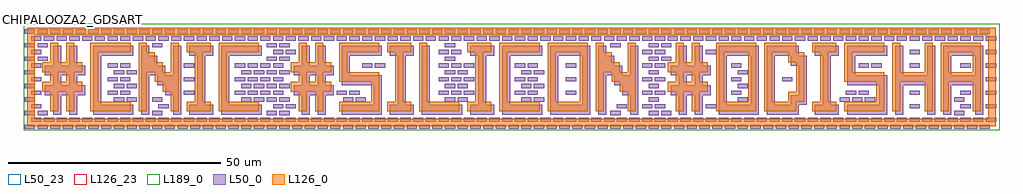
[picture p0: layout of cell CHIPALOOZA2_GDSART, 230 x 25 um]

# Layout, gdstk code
import gdstk
lib = gdstk.Library(unit=1e-6, precision=1e-09)
def R(c, l, rs):  # rectangles x0, y0, x1, y1
    for r in rs: c.add(gdstk.rectangle(r[:2], r[2:], *l))
def A(c, l, x, y, w, h, nx, ny, dx, dy):  # array of equal rectangles
    R(c, l, [(x+i*dx, y+j*dy, x+i*dx+w, y+j*dy+h) for i in range(nx) for j in range(ny)])
def P(c, l, *ps):  # polygons
    for p in ps: c.add(gdstk.Polygon(p, *l))
L50_0 = (50, 0)
L50_23 = (50, 23)
L126_0 = (126, 0)
L126_23 = (126, 23)
L189_0 = (189, 0)

chipalooza2_gdsart = lib.new_cell('CHIPALOOZA2_GDSART')
A(chipalooza2_gdsart, L50_0, 0.3, 0.3, 2.4, 1, 76, 2, 3, 22.4)
A(chipalooza2_gdsart, L50_0, 1.8, 1.9, 2.4, 1, 76, 2, 3, 19.2)
A(chipalooza2_gdsart, L50_0, 0.3, 3.5, 2.4, 1, 1, 6, 0, 3.2)
A(chipalooza2_gdsart, L50_0, 3.3, 3.5, 2.4, 1, 3, 2, 27, 16)
A(chipalooza2_gdsart, L50_0, 147.3, 3.5, 2.4, 1, 1, 6, 0, 3.2)
A(chipalooza2_gdsart, L50_0, 1.8, 5.1, 2.4, 1, 1, 5, 0, 3.2)
A(chipalooza2_gdsart, L50_0, 145.8, 5.1, 2.4, 1, 1, 5, 0, 3.2)
A(chipalooza2_gdsart, L50_0, 148.8, 5.1, 2.4, 1, 1, 5, 0, 3.2)
A(chipalooza2_gdsart, L50_0, 226.8, 5.1, 2.4, 1, 1, 5, 0, 3.2)
A(chipalooza2_gdsart, L50_0, 21.3, 6.7, 2.4, 1, 1, 3, 0, 3.2)
A(chipalooza2_gdsart, L50_0, 24.3, 6.7, 2.4, 1, 1, 3, 0, 3.2)
A(chipalooza2_gdsart, L50_0, 51.3, 6.7, 2.4, 1, 4, 3, 3, 3.2)
A(chipalooza2_gdsart, L50_0, 99.3, 6.7, 2.4, 1, 1, 4, 0, 3.2)
A(chipalooza2_gdsart, L50_0, 102.3, 6.7, 2.4, 1, 1, 3, 0, 3.2)
A(chipalooza2_gdsart, L50_0, 117.3, 6.7, 2.4, 1, 1, 3, 0, 3.2)
A(chipalooza2_gdsart, L50_0, 120.3, 6.7, 2.4, 1, 1, 3, 0, 3.2)
A(chipalooza2_gdsart, L50_0, 168.3, 6.7, 2.4, 1, 1, 3, 0, 3.2)
A(chipalooza2_gdsart, L50_0, 192.3, 6.7, 2.4, 1, 3, 1, 3, 0)
A(chipalooza2_gdsart, L50_0, 19.8, 8.3, 2.4, 1, 1, 3, 0, 3.2)
A(chipalooza2_gdsart, L50_0, 22.8, 8.3, 2.4, 1, 1, 3, 0, 3.2)
A(chipalooza2_gdsart, L50_0, 37.8, 8.3, 2.4, 1, 1, 3, 0, 3.2)
A(chipalooza2_gdsart, L50_0, 49.8, 8.3, 2.4, 1, 4, 3, 3, 3.2)
A(chipalooza2_gdsart, L50_0, 97.8, 8.3, 2.4, 1, 3, 3, 3, 3.2)
A(chipalooza2_gdsart, L50_0, 115.8, 8.3, 2.4, 1, 1, 3, 0, 3.2)
A(chipalooza2_gdsart, L50_0, 118.8, 8.3, 2.4, 1, 1, 3, 0, 3.2)
A(chipalooza2_gdsart, L50_0, 127.8, 8.3, 2.4, 1, 1, 3, 0, 3.2)
A(chipalooza2_gdsart, L50_0, 166.8, 8.3, 2.4, 1, 1, 3, 0, 3.2)
A(chipalooza2_gdsart, L50_0, 196.8, 8.3, 2.4, 1, 3, 1, 12, 0)
A(chipalooza2_gdsart, L50_0, 60.3, 19.5, 2.4, 1, 3, 1, 39, 0)
R(chipalooza2_gdsart, L50_0, [(60.3,3.5,62.7,4.5), (138.3,3.5,140.7,4.5), (150.3,3.5,152.7,4.5), (219.3,3.5,221.7,4.5), (31.8,5.1,34.2,6.1), (58.8,5.1,61.2,6.1), (61.8,5.1,64.2,6.1), (139.8,5.1,142.2,6.1), (160.8,5.1,163.2,6.1), (208.8,5.1,211.2,6.1), (220.8,5.1,223.2,6.1), (30.3,6.7,32.7,7.7), (75.3,6.7,77.7,7.7), (78.3,6.7,80.7,7.7), (219.3,6.7,221.7,7.7), (73.8,8.3,76.2,9.3), (76.8,8.3,79.2,9.3), (193.8,8.3,196.2,9.3), (178.8,11.5,181.2,12.5), (79.8,14.7,82.2,15.7), (82.8,14.7,85.2,15.7), (196.8,14.7,199.2,15.7), (199.8,14.7,202.2,15.7), (208.8,14.7,211.2,15.7), (220.8,14.7,223.2,15.7), (3.3,16.3,5.7,17.3), (57.3,16.3,59.7,17.3), (60.3,16.3,62.7,17.3), (150.3,16.3,152.7,17.3), (58.8,17.9,61.2,18.9), (61.8,17.9,64.2,18.9), (97.8,17.9,100.2,18.9), (100.8,17.9,103.2,18.9), (160.8,17.9,163.2,18.9), (208.8,17.9,211.2,18.9), (150.3,19.5,152.7,20.5)])
P(chipalooza2_gdsart, L50_0, [(112.795,3.605),(112.795,19.845),(122.245,19.845),(122.245,17.525),(114.685,17.525),(114.685,5.925),(122.245,5.925),(122.245,3.605)],
  [(163.825,3.605),(163.825,17.525),(165.715,17.525),(165.715,5.925),(171.385,5.925),(171.385,17.525),(163.825,17.525),(163.825,19.845),(173.275,19.845),(173.275,3.605)],
  [(175.165,3.605),(175.165,17.525),(177.055,17.525),(177.055,5.925),(180.835,5.925),(180.835,8.245),(182.725,8.245),(182.725,15.205),(180.835,15.205),(180.835,17.525),(175.165,17.525),(175.165,19.845),(182.725,19.845),(182.725,17.525),(184.615,17.525),(184.615,5.925),(182.725,5.925),(182.725,3.605)],
  [(186.505,3.605),(186.505,5.925),(188.395,5.925),(188.395,17.525),(186.505,17.525),(186.505,19.845),(192.175,19.845),(192.175,17.525),(190.285,17.525),(190.285,5.925),(192.175,5.925),(192.175,3.605)],
  [(194.065,3.605),(194.065,5.925),(201.625,5.925),(201.625,10.565),(194.065,10.565),(194.065,19.845),(203.515,19.845),(203.515,17.525),(195.955,17.525),(195.955,12.885),(203.515,12.885),(203.515,3.605)],
  [(205.405,3.605),(205.405,19.845),(207.295,19.845),(207.295,12.885),(212.965,12.885),(212.965,19.845),(214.855,19.845),(214.855,3.605),(212.965,3.605),(212.965,10.565),(207.295,10.565),(207.295,3.605)],
  [(216.745,3.605),(216.745,17.525),(218.635,17.525),(218.635,12.885),(224.305,12.885),(224.305,17.525),(216.745,17.525),(216.745,19.845),(226.195,19.845),(226.195,3.605),(224.305,3.605),(224.305,10.565),(218.635,10.565),(218.635,3.605)],
  [(124.135,3.605),(124.135,17.525),(126.025,17.525),(126.025,5.925),(131.695,5.925),(131.695,17.525),(124.135,17.525),(124.135,19.845),(133.585,19.845),(133.585,3.605)],
  [(135.475,3.605),(135.475,19.845),(137.365,19.845),(137.365,17.525),(139.255,17.525),(139.255,15.205),(141.145,15.205),(141.145,12.885),(143.035,12.885),(143.035,19.845),(144.925,19.845),(144.925,3.605),(143.035,3.605),(143.035,8.245),(141.145,8.245),(141.145,10.565),(139.255,10.565),(139.255,12.885),(137.365,12.885),(137.365,3.605)],
  [(154.375,3.605),(154.375,8.245),(152.485,8.245),(152.485,10.565),(154.375,10.565),(154.375,12.885),(156.265,12.885),(156.265,10.565),(158.155,10.565),(158.155,12.885),(152.485,12.885),(152.485,15.205),(154.375,15.205),(154.375,19.845),(156.265,19.845),(156.265,15.205),(158.155,15.205),(158.155,19.845),(160.045,19.845),(160.045,15.205),(161.935,15.205),(161.935,12.885),(160.045,12.885),(160.045,10.565),(161.935,10.565),(161.935,8.245),(160.045,8.245),(160.045,3.605),(158.155,3.605),(158.155,8.245),(156.265,8.245),(156.265,3.605)],
  [(65.545,3.605),(65.545,8.245),(63.655,8.245),(63.655,10.565),(65.545,10.565),(65.545,12.885),(67.435,12.885),(67.435,10.565),(69.325,10.565),(69.325,12.885),(63.655,12.885),(63.655,15.205),(65.545,15.205),(65.545,19.845),(67.435,19.845),(67.435,15.205),(69.325,15.205),(69.325,19.845),(71.215,19.845),(71.215,15.205),(73.105,15.205),(73.105,12.885),(71.215,12.885),(71.215,10.565),(73.105,10.565),(73.105,8.245),(71.215,8.245),(71.215,3.605),(69.325,3.605),(69.325,8.245),(67.435,8.245),(67.435,3.605)],
  [(74.995,3.605),(74.995,5.925),(82.555,5.925),(82.555,10.565),(74.995,10.565),(74.995,19.845),(84.445,19.845),(84.445,17.525),(76.885,17.525),(76.885,12.885),(84.445,12.885),(84.445,3.605)],
  [(86.335,3.605),(86.335,5.925),(88.225,5.925),(88.225,17.525),(86.335,17.525),(86.335,19.845),(92.005,19.845),(92.005,17.525),(90.115,17.525),(90.115,5.925),(92.005,5.925),(92.005,3.605)],
  [(93.895,3.605),(93.895,19.845),(95.785,19.845),(95.785,5.925),(103.345,5.925),(103.345,3.605)],
  [(105.235,3.605),(105.235,5.925),(107.125,5.925),(107.125,17.525),(105.235,17.525),(105.235,19.845),(110.905,19.845),(110.905,17.525),(109.015,17.525),(109.015,5.925),(110.905,5.925),(110.905,3.605)],
  [(6.955,3.605),(6.955,8.245),(5.065,8.245),(5.065,10.565),(6.955,10.565),(6.955,12.885),(8.845,12.885),(8.845,10.565),(10.735,10.565),(10.735,12.885),(5.065,12.885),(5.065,15.205),(6.955,15.205),(6.955,19.845),(8.845,19.845),(8.845,15.205),(10.735,15.205),(10.735,19.845),(12.625,19.845),(12.625,15.205),(14.515,15.205),(14.515,12.885),(12.625,12.885),(12.625,10.565),(14.515,10.565),(14.515,8.245),(12.625,8.245),(12.625,3.605),(10.735,3.605),(10.735,8.245),(8.845,8.245),(8.845,3.605)],
  [(16.405,3.605),(16.405,19.845),(25.855,19.845),(25.855,17.525),(18.295,17.525),(18.295,5.925),(25.855,5.925),(25.855,3.605)],
  [(27.745,3.605),(27.745,19.845),(29.635,19.845),(29.635,17.525),(31.525,17.525),(31.525,15.205),(33.415,15.205),(33.415,12.885),(35.305,12.885),(35.305,19.845),(37.195,19.845),(37.195,3.605),(35.305,3.605),(35.305,8.245),(33.415,8.245),(33.415,10.565),(31.525,10.565),(31.525,12.885),(29.635,12.885),(29.635,3.605)],
  [(39.085,3.605),(39.085,5.925),(40.975,5.925),(40.975,17.525),(39.085,17.525),(39.085,19.845),(44.755,19.845),(44.755,17.525),(42.865,17.525),(42.865,5.925),(44.755,5.925),(44.755,3.605)],
  [(46.645,3.605),(46.645,19.845),(56.095,19.845),(56.095,17.525),(48.535,17.525),(48.535,5.925),(56.095,5.925),(56.095,3.605)])
R(chipalooza2_gdsart, L50_23, [(0,0,230,25)])
P(chipalooza2_gdsart, L126_0, [(6.325,4.38),(6.325,9.02),(4.435,9.02),(4.435,11.34),(6.325,11.34),(6.325,13.66),(8.215,13.66),(8.215,11.34),(10.105,11.34),(10.105,13.66),(4.435,13.66),(4.435,15.98),(6.325,15.98),(6.325,20.62),(8.215,20.62),(8.215,15.98),(10.105,15.98),(10.105,20.62),(11.995,20.62),(11.995,15.98),(13.885,15.98),(13.885,13.66),(11.995,13.66),(11.995,11.34),(13.885,11.34),(13.885,9.02),(11.995,9.02),(11.995,4.38),(10.105,4.38),(10.105,9.02),(8.215,9.02),(8.215,4.38)],
  [(15.775,4.38),(15.775,20.62),(25.225,20.62),(25.225,18.3),(17.665,18.3),(17.665,6.7),(25.225,6.7),(25.225,4.38)],
  [(27.115,4.38),(27.115,20.62),(29.005,20.62),(29.005,18.3),(30.895,18.3),(30.895,15.98),(32.785,15.98),(32.785,13.66),(34.675,13.66),(34.675,20.62),(36.565,20.62),(36.565,4.38),(34.675,4.38),(34.675,9.02),(32.785,9.02),(32.785,11.34),(30.895,11.34),(30.895,13.66),(29.005,13.66),(29.005,4.38)],
  [(38.455,4.38),(38.455,6.7),(40.345,6.7),(40.345,18.3),(38.455,18.3),(38.455,20.62),(44.125,20.62),(44.125,18.3),(42.235,18.3),(42.235,6.7),(44.125,6.7),(44.125,4.38)],
  [(46.015,4.38),(46.015,20.62),(55.465,20.62),(55.465,18.3),(47.905,18.3),(47.905,6.7),(55.465,6.7),(55.465,4.38)],
  [(64.915,4.38),(64.915,9.02),(63.025,9.02),(63.025,11.34),(64.915,11.34),(64.915,13.66),(66.805,13.66),(66.805,11.34),(68.695,11.34),(68.695,13.66),(63.025,13.66),(63.025,15.98),(64.915,15.98),(64.915,20.62),(66.805,20.62),(66.805,15.98),(68.695,15.98),(68.695,20.62),(70.585,20.62),(70.585,15.98),(72.475,15.98),(72.475,13.66),(70.585,13.66),(70.585,11.34),(72.475,11.34),(72.475,9.02),(70.585,9.02),(70.585,4.38),(68.695,4.38),(68.695,9.02),(66.805,9.02),(66.805,4.38)],
  [(74.365,4.38),(74.365,6.7),(81.925,6.7),(81.925,11.34),(74.365,11.34),(74.365,20.62),(83.815,20.62),(83.815,18.3),(76.255,18.3),(76.255,13.66),(83.815,13.66),(83.815,4.38)],
  [(85.705,4.38),(85.705,6.7),(87.595,6.7),(87.595,18.3),(85.705,18.3),(85.705,20.62),(91.375,20.62),(91.375,18.3),(89.485,18.3),(89.485,6.7),(91.375,6.7),(91.375,4.38)],
  [(93.265,4.38),(93.265,20.62),(95.155,20.62),(95.155,6.7),(102.715,6.7),(102.715,4.38)],
  [(104.605,4.38),(104.605,6.7),(106.495,6.7),(106.495,18.3),(104.605,18.3),(104.605,20.62),(110.275,20.62),(110.275,18.3),(108.385,18.3),(108.385,6.7),(110.275,6.7),(110.275,4.38)],
  [(112.165,4.38),(112.165,20.62),(121.615,20.62),(121.615,18.3),(114.055,18.3),(114.055,6.7),(121.615,6.7),(121.615,4.38)],
  [(123.505,4.38),(123.505,18.3),(125.395,18.3),(125.395,6.7),(131.065,6.7),(131.065,18.3),(123.505,18.3),(123.505,20.62),(132.955,20.62),(132.955,4.38)],
  [(134.845,4.38),(134.845,20.62),(136.735,20.62),(136.735,18.3),(138.625,18.3),(138.625,15.98),(140.515,15.98),(140.515,13.66),(142.405,13.66),(142.405,20.62),(144.295,20.62),(144.295,4.38),(142.405,4.38),(142.405,9.02),(140.515,9.02),(140.515,11.34),(138.625,11.34),(138.625,13.66),(136.735,13.66),(136.735,4.38)],
  [(153.745,4.38),(153.745,9.02),(151.855,9.02),(151.855,11.34),(153.745,11.34),(153.745,13.66),(155.635,13.66),(155.635,11.34),(157.525,11.34),(157.525,13.66),(151.855,13.66),(151.855,15.98),(153.745,15.98),(153.745,20.62),(155.635,20.62),(155.635,15.98),(157.525,15.98),(157.525,20.62),(159.415,20.62),(159.415,15.98),(161.305,15.98),(161.305,13.66),(159.415,13.66),(159.415,11.34),(161.305,11.34),(161.305,9.02),(159.415,9.02),(159.415,4.38),(157.525,4.38),(157.525,9.02),(155.635,9.02),(155.635,4.38)],
  [(163.195,4.38),(163.195,18.3),(165.085,18.3),(165.085,6.7),(170.755,6.7),(170.755,18.3),(163.195,18.3),(163.195,20.62),(172.645,20.62),(172.645,4.38)],
  [(174.535,4.38),(174.535,18.3),(176.425,18.3),(176.425,6.7),(180.205,6.7),(180.205,9.02),(182.095,9.02),(182.095,15.98),(180.205,15.98),(180.205,18.3),(174.535,18.3),(174.535,20.62),(182.095,20.62),(182.095,18.3),(183.985,18.3),(183.985,6.7),(182.095,6.7),(182.095,4.38)],
  [(185.875,4.38),(185.875,6.7),(187.765,6.7),(187.765,18.3),(185.875,18.3),(185.875,20.62),(191.545,20.62),(191.545,18.3),(189.655,18.3),(189.655,6.7),(191.545,6.7),(191.545,4.38)],
  [(193.435,4.38),(193.435,6.7),(200.995,6.7),(200.995,11.34),(193.435,11.34),(193.435,20.62),(202.885,20.62),(202.885,18.3),(195.325,18.3),(195.325,13.66),(202.885,13.66),(202.885,4.38)],
  [(204.775,4.38),(204.775,20.62),(206.665,20.62),(206.665,13.66),(212.335,13.66),(212.335,20.62),(214.225,20.62),(214.225,4.38),(212.335,4.38),(212.335,11.34),(206.665,11.34),(206.665,4.38)],
  [(216.115,4.38),(216.115,18.3),(218.005,18.3),(218.005,13.66),(223.675,13.66),(223.675,18.3),(216.115,18.3),(216.115,20.62),(225.565,20.62),(225.565,4.38),(223.675,4.38),(223.675,11.34),(218.005,11.34),(218.005,4.38)],
  [(0.85,0.85),(0.85,22.35),(2.65,22.35),(2.65,2.65),(227.35,2.65),(227.35,22.35),(0.85,22.35),(0.85,24.15),(229.15,24.15),(229.15,0.85)])
R(chipalooza2_gdsart, L126_23, [(0,0,230,25)])
R(chipalooza2_gdsart, L189_0, [(0,0,230,25)])
chipalooza2_gdsart.add(gdstk.Label('CHIPALOOZA2_GDSART', (1,26), layer=63, texttype=0))

lib.write_gds('CHIPALOOZA2_GDSART.gds')
